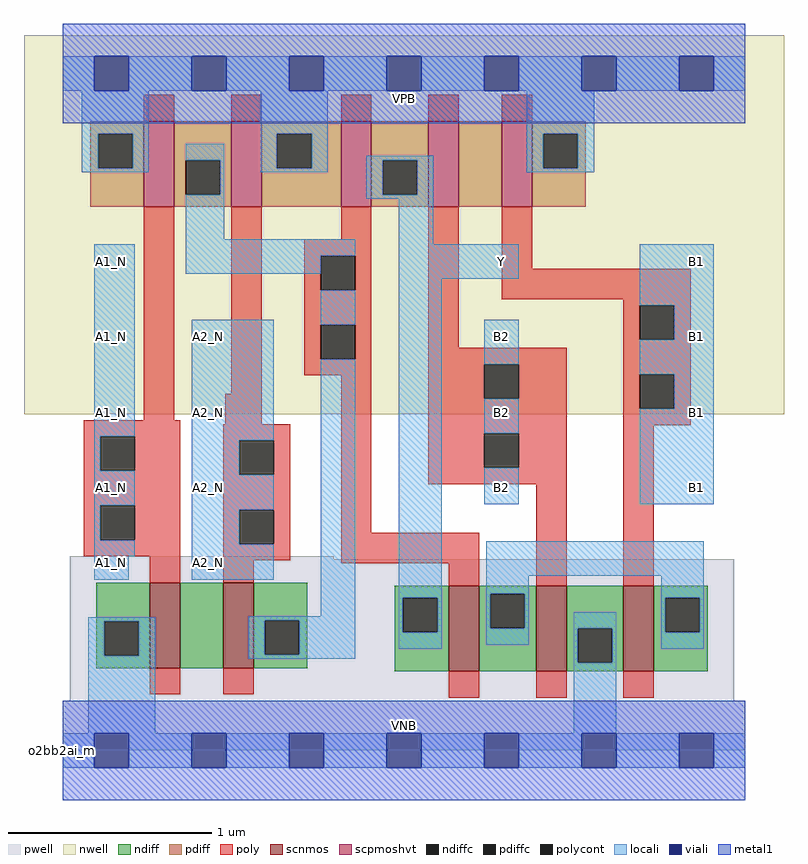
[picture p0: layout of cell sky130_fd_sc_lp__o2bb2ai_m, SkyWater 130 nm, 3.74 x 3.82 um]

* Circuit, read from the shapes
.subckt sky130_fd_sc_lp__o2bb2ai_m A1_N A2_N B1 B2 VGND VNB VPB VPWR Y
XM1 n1 A1_N VGND VNB sky130_fd_pr__nfet_01v8 w=0.42 l=0.15
XM2 n2 A2_N n1 VNB sky130_fd_pr__nfet_01v8 w=0.42 l=0.15
XM3 n3 n2 Y VNB sky130_fd_pr__nfet_01v8 w=0.42 l=0.15
XM4 VGND B2 n3 VNB sky130_fd_pr__nfet_01v8 w=0.42 l=0.15
XM5 n3 B1 VGND VNB sky130_fd_pr__nfet_01v8 w=0.42 l=0.15
XM6 n2 A1_N VPWR VPB sky130_fd_pr__pfet_01v8_hvt w=0.42 l=0.15
XM7 VPWR A2_N n2 VPB sky130_fd_pr__pfet_01v8_hvt w=0.42 l=0.15
XM8 Y n2 VPWR VPB sky130_fd_pr__pfet_01v8_hvt w=0.42 l=0.15
XM9 n4 B2 Y VPB sky130_fd_pr__pfet_01v8_hvt w=0.42 l=0.15
XM10 VPWR B1 n4 VPB sky130_fd_pr__pfet_01v8_hvt w=0.42 l=0.15
.ends

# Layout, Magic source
magic
tech sky130A
magscale 1 2
<< nwell >>
rect -38 331 710 704
<< pwell >>
rect 7 188 267 191
rect 7 49 661 188
rect 0 0 672 49
<< scnmos >>
rect 86 81 116 165
rect 158 81 188 165
rect 380 78 410 162
rect 466 78 496 162
rect 552 78 582 162
<< scpmoshvt >>
rect 80 535 110 619
rect 166 535 196 619
rect 274 535 304 619
rect 360 535 390 619
rect 432 535 462 619
<< ndiff >>
rect 33 127 86 165
rect 33 93 41 127
rect 75 93 86 127
rect 33 81 86 93
rect 116 81 158 165
rect 188 128 241 165
rect 188 94 199 128
rect 233 94 241 128
rect 188 81 241 94
rect 327 150 380 162
rect 327 116 335 150
rect 369 116 380 150
rect 327 78 380 116
rect 410 154 466 162
rect 410 120 421 154
rect 455 120 466 154
rect 410 78 466 120
rect 496 120 552 162
rect 496 86 507 120
rect 541 86 552 120
rect 496 78 552 86
rect 582 150 635 162
rect 582 116 593 150
rect 627 116 635 150
rect 582 78 635 116
<< pdiff >>
rect 27 607 80 619
rect 27 573 35 607
rect 69 573 80 607
rect 27 535 80 573
rect 110 581 166 619
rect 110 547 121 581
rect 155 547 166 581
rect 110 535 166 547
rect 196 607 274 619
rect 196 573 211 607
rect 245 573 274 607
rect 196 535 274 573
rect 304 581 360 619
rect 304 547 315 581
rect 349 547 360 581
rect 304 535 360 547
rect 390 535 432 619
rect 462 607 515 619
rect 462 573 473 607
rect 507 573 515 607
rect 462 535 515 573
<< ndiffc >>
rect 41 93 75 127
rect 199 94 233 128
rect 335 116 369 150
rect 421 120 455 154
rect 507 86 541 120
rect 593 116 627 150
<< pdiffc >>
rect 35 573 69 607
rect 121 547 155 581
rect 211 573 245 607
rect 315 547 349 581
rect 473 573 507 607
<< poly >>
rect 80 619 110 645
rect 166 619 196 645
rect 274 619 304 645
rect 360 619 390 645
rect 432 619 462 645
rect 80 325 110 535
rect 166 351 196 535
rect 274 503 304 535
rect 238 487 304 503
rect 238 453 254 487
rect 288 453 304 487
rect 238 419 304 453
rect 238 385 254 419
rect 288 385 304 419
rect 238 369 304 385
rect 21 309 116 325
rect 160 321 196 351
rect 21 275 37 309
rect 71 275 116 309
rect 21 241 116 275
rect 21 207 37 241
rect 71 207 116 241
rect 21 191 116 207
rect 86 165 116 191
rect 158 305 224 321
rect 158 271 174 305
rect 208 271 224 305
rect 158 237 224 271
rect 158 203 174 237
rect 208 203 224 237
rect 158 187 224 203
rect 274 214 304 369
rect 360 396 390 535
rect 432 474 462 535
rect 432 444 618 474
rect 552 438 618 444
rect 552 404 568 438
rect 602 404 618 438
rect 360 380 496 396
rect 360 346 415 380
rect 449 346 496 380
rect 360 312 496 346
rect 360 278 415 312
rect 449 278 496 312
rect 360 262 496 278
rect 158 165 188 187
rect 274 184 410 214
rect 380 162 410 184
rect 466 162 496 262
rect 552 370 618 404
rect 552 336 568 370
rect 602 336 618 370
rect 552 320 618 336
rect 552 162 582 320
rect 86 55 116 81
rect 158 55 188 81
rect 380 52 410 78
rect 466 52 496 78
rect 552 52 582 78
<< polycont >>
rect 254 453 288 487
rect 254 385 288 419
rect 37 275 71 309
rect 37 207 71 241
rect 174 271 208 305
rect 174 203 208 237
rect 568 404 602 438
rect 415 346 449 380
rect 415 278 449 312
rect 568 336 602 370
<< locali >>
rect 0 649 31 683
rect 65 649 127 683
rect 161 649 223 683
rect 257 649 319 683
rect 353 649 415 683
rect 449 649 511 683
rect 545 649 607 683
rect 641 649 672 683
rect 19 607 85 649
rect 19 573 35 607
rect 69 573 85 607
rect 195 607 261 649
rect 19 569 85 573
rect 121 581 159 597
rect 155 547 159 581
rect 195 573 211 607
rect 245 573 261 607
rect 457 607 523 649
rect 195 569 261 573
rect 299 581 365 585
rect 121 503 159 547
rect 299 547 315 581
rect 349 547 365 581
rect 457 573 473 607
rect 507 573 523 607
rect 457 569 523 573
rect 299 543 365 547
rect 31 309 71 498
rect 121 487 288 503
rect 121 469 254 487
rect 31 275 37 309
rect 31 241 71 275
rect 31 207 37 241
rect 31 191 71 207
rect 127 305 208 424
rect 127 271 174 305
rect 127 237 208 271
rect 127 203 174 237
rect 31 168 65 191
rect 127 168 208 203
rect 254 419 288 453
rect 254 132 288 385
rect 25 127 91 131
rect 25 93 41 127
rect 75 93 91 127
rect 25 17 91 93
rect 183 128 288 132
rect 183 94 199 128
rect 233 94 288 128
rect 331 498 365 543
rect 331 464 449 498
rect 331 150 373 464
rect 568 438 641 498
rect 415 380 449 424
rect 415 312 449 346
rect 415 242 449 278
rect 602 404 641 438
rect 568 370 641 404
rect 602 336 641 370
rect 568 242 641 336
rect 331 116 335 150
rect 369 116 373 150
rect 331 100 373 116
rect 417 172 631 206
rect 417 154 459 172
rect 417 120 421 154
rect 455 120 459 154
rect 589 150 631 172
rect 417 104 459 120
rect 503 120 545 136
rect 183 90 288 94
rect 503 86 507 120
rect 541 86 545 120
rect 589 116 593 150
rect 627 116 631 150
rect 589 100 631 116
rect 503 17 545 86
rect 0 -17 31 17
rect 65 -17 127 17
rect 161 -17 223 17
rect 257 -17 319 17
rect 353 -17 415 17
rect 449 -17 511 17
rect 545 -17 607 17
rect 641 -17 672 17
<< viali >>
rect 31 649 65 683
rect 127 649 161 683
rect 223 649 257 683
rect 319 649 353 683
rect 415 649 449 683
rect 511 649 545 683
rect 607 649 641 683
rect 31 -17 65 17
rect 127 -17 161 17
rect 223 -17 257 17
rect 319 -17 353 17
rect 415 -17 449 17
rect 511 -17 545 17
rect 607 -17 641 17
<< metal1 >>
rect 0 683 672 715
rect 0 649 31 683
rect 65 649 127 683
rect 161 649 223 683
rect 257 649 319 683
rect 353 649 415 683
rect 449 649 511 683
rect 545 649 607 683
rect 641 649 672 683
rect 0 617 672 649
rect 0 17 672 49
rect 0 -17 31 17
rect 65 -17 127 17
rect 161 -17 223 17
rect 257 -17 319 17
rect 353 -17 415 17
rect 449 -17 511 17
rect 545 -17 607 17
rect 641 -17 672 17
rect 0 -49 672 -17
<< labels >>
flabel pwell s 0 0 672 49 0 FreeSans 200 0 0 0 VNB
port 6 nsew ground bidirectional
flabel nwell s 0 617 672 666 0 FreeSans 200 0 0 0 VPB
port 7 nsew power bidirectional
rlabel comment s 0 0 0 0 4 o2bb2ai_m
flabel metal1 s 0 617 672 666 0 FreeSans 340 0 0 0 VPWR
port 8 nsew power bidirectional
flabel metal1 s 0 0 672 49 0 FreeSans 340 0 0 0 VGND
port 5 nsew ground bidirectional
flabel locali s 415 464 449 498 0 FreeSans 340 0 0 0 Y
port 9 nsew signal output
flabel locali s 415 242 449 276 0 FreeSans 340 0 0 0 B2
port 4 nsew signal input
flabel locali s 415 316 449 350 0 FreeSans 340 0 0 0 B2
port 4 nsew signal input
flabel locali s 415 390 449 424 0 FreeSans 340 0 0 0 B2
port 4 nsew signal input
flabel locali s 31 168 65 202 0 FreeSans 340 0 0 0 A1_N
port 1 nsew signal input
flabel locali s 31 242 65 276 0 FreeSans 340 0 0 0 A1_N
port 1 nsew signal input
flabel locali s 31 316 65 350 0 FreeSans 340 0 0 0 A1_N
port 1 nsew signal input
flabel locali s 31 390 65 424 0 FreeSans 340 0 0 0 A1_N
port 1 nsew signal input
flabel locali s 31 464 65 498 0 FreeSans 340 0 0 0 A1_N
port 1 nsew signal input
flabel locali s 127 168 161 202 0 FreeSans 340 0 0 0 A2_N
port 2 nsew signal input
flabel locali s 127 242 161 276 0 FreeSans 340 0 0 0 A2_N
port 2 nsew signal input
flabel locali s 127 316 161 350 0 FreeSans 340 0 0 0 A2_N
port 2 nsew signal input
flabel locali s 127 390 161 424 0 FreeSans 340 0 0 0 A2_N
port 2 nsew signal input
flabel locali s 607 242 641 276 0 FreeSans 340 0 0 0 B1
port 3 nsew signal input
flabel locali s 607 316 641 350 0 FreeSans 340 0 0 0 B1
port 3 nsew signal input
flabel locali s 607 390 641 424 0 FreeSans 340 0 0 0 B1
port 3 nsew signal input
flabel locali s 607 464 641 498 0 FreeSans 340 0 0 0 B1
port 3 nsew signal input
<< properties >>
string LEFsite unit
string LEFclass CORE
string FIXED_BBOX 0 0 672 666
string GDS_FILE $PDKPATH/libs.ref/sky130_fd_sc_lp/gds/sky130_fd_sc_lp.gds
string LEFsymmetry X Y R90
string GDS_END 4123428
string GDS_START 4116068
<< end >>
